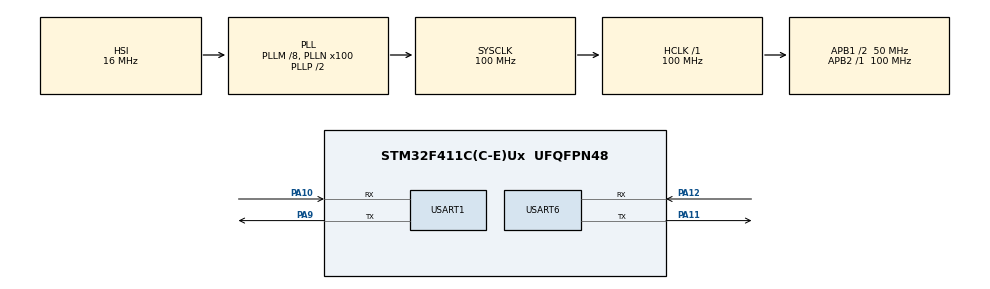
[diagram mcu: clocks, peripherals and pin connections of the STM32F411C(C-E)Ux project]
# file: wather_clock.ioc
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Mcu.Family=STM32F4
Mcu.Name=STM32F411C(C-E)Ux
Mcu.Package=UFQFPN48
NVIC.PriorityGroup=NVIC_PRIORITYGROUP_4
PA10.Mode=Asynchronous
PA10.Signal=USART1_RX
PA11.Mode=Asynchronous
PA11.Signal=USART6_TX
PA12.Mode=Asynchronous
PA12.Signal=USART6_RX
PA13.Mode=Serial_Wire
PA13.Signal=SYS_JTMS-SWDIO
PA14.Mode=Serial_Wire
PA14.Signal=SYS_JTCK-SWCLK
PA9.Mode=Asynchronous
PA9.Signal=USART1_TX
PH0\ -\ OSC_IN.Mode=HSE-External-Clock-Source
PH0\ -\ OSC_IN.Signal=RCC_OSC_IN
PH1\ -\ OSC_OUT.Mode=HSE-External-Clock-Source
PH1\ -\ OSC_OUT.Signal=RCC_OSC_OUT
ProjectManager.HeapSize=0x200
ProjectManager.StackSize=0x400
ProjectManager.TargetToolchain=CMake
RCC.48MHZClocksFreq_Value=50000000
RCC.AHBFreq_Value=100000000
RCC.APB1CLKDivider=RCC_HCLK_DIV2
RCC.APB1Freq_Value=50000000
RCC.APB1TimFreq_Value=100000000
RCC.APB2Freq_Value=100000000
RCC.APB2TimFreq_Value=100000000
RCC.CortexFreq_Value=100000000
RCC.HCLKFreq_Value=100000000
RCC.HSE_VALUE=25000000
RCC.HSI_VALUE=16000000
RCC.LSE_VALUE=32768
RCC.PLLM=8
RCC.PLLN=100
RCC.SYSCLKFreq_VALUE=100000000
RCC.SYSCLKSource=RCC_SYSCLKSOURCE_PLLCLK
RCC.VCOOutputFreq_Value=200000000
USART1.VirtualMode=VM_ASYNC
USART6.VirtualMode=VM_ASYNC
board=custom

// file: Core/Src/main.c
/* USER CODE BEGIN Header */
/**
  * @attention
  *
  * Copyright (c) 2025 STMicroelectronics.
  * All rights reserved.
  *
  * This software is licensed under terms that can be found in the LICENSE file
  * in the root directory of this software component.
  * If no LICENSE file comes with this software, it is provided AS-IS.
  *
  ******************************************************************************
  */
/* USER CODE END Header */
#include "main.h"
#include "stm32f4xx_hal.h"
#include "stm32f4xx_hal_uart.h"
#include "usart.h"
#include "gpio.h"

/* USER CODE BEGIN Includes */
#include "lcd_Driver.h"
#include "GUI.h"
#include "font.h"
#include "esp32_weather.h"
#include "dht11.h"
#include "usart.h"
#include <stdio.h>
#include <string.h>
/* USER CODE END Includes */

void SystemClock_Config(void);

int main(void)
{

  /* MCU Configuration--------------------------------------------------------*/

  /* Reset of all peripherals, Initializes the Flash interface and the Systick. */
  HAL_Init();

  /* Configure the system clock */
  SystemClock_Config();

  /* Initialize all configured peripherals */
  MX_GPIO_Init();
  MX_USART1_UART_Init();
  MX_USART6_UART_Init();
  /* USER CODE BEGIN 2 */
  HAL_UART_Transmit(&huart6, (uint8_t *)"Hello from STM32!\n", 19, 1000);

  // 初始化LCD
  Lcd_Init();
  DHT11_Init();

  int humidity, temperature;
  char buffer[100] = {0};
  char uart_msg[100] = {0};

  // 清屏为黑色
  Lcd_Clear(WHITE);

  // 显示湿度图标
  Gui_DrawImage(1, 50, gImage_humo_nei);  // 在(5,50)位置显示湿度图标
  Gui_DrawImage(50, 50, gImage_temp_nei);  // 在(65,50)位置显示温度图标
  Gui_DrawImage(90, 40, gImage_1);  // 在(100,50)位置显示外部温度图标
  Gui_DrawImage(80, 10, gImage_temp_wai);  // 在(100,50)位置显示外部温度图标

  uint32_t weather_counter = 0;
  wifi_connect();
  get_weather();
  /* USER CODE END 2 */

  /* Infinite loop */
  while (1)
  {

    /* USER CODE BEGIN 3 */
    /*====================测试================ */
    // Gui_Circle(20,20,1,RED);
    //Gui_DrawLine(10,10,50,50,BLUE);
    //Gui_box(20,20,30,30,GREEN);
    //Gui_box(20,20,30,30,GREEN);
    //DisplayButtonDown(20,20,30,30);
    //Gui_Draw8x16Char(30, 30, BLACK, WHITE, 'A');
    //Gui_DrawAsciiString(10, 10, BLACK, WHITE, "Hello!"); // 显示英文字符串
    //Gui_DrawFont_GBK16(10, 10, BLACK, WHITE, (uint8_t*)"Hello!涵涵"); // 显示中英文混合字符串
    //Gui_DrawFont_Num32(10, 100, BLACK, WHITE, 1);
    /*====================测试================ */
    /*读取DHT11温湿度数据*/
    DHT11_Read(&humidity, &temperature);
        // ✅ 打印湿度
    sprintf(uart_msg, "湿度: %d%%\r\n", humidity);
    HAL_UART_Transmit(&huart6, (uint8_t*)uart_msg, strlen(uart_msg), 1000);

    // ✅ 打印温度
    sprintf(uart_msg, "温度: %d°C\r\n", temperature);
    HAL_UART_Transmit(&huart6, (uint8_t*)uart_msg, strlen(uart_msg), 1000);
    // 读取成功，显示数据-
    sprintf(buffer, "%d%%",humidity);
    Gui_DrawAsciiString(25,55,BLACK, WHITE, buffer);

    /*显示温度*/
    sprintf(buffer, "%d",temperature);
    if(temperature>30)
    {
      Gui_DrawAsciiString(68,55,RED, WHITE, buffer);
      Gui_Circle(82, 52,1, RED);
      Gui_DrawAsciiChar(82, 55, RED, WHITE, 'c');  // 显示摄氏度符号
    }
    else if(temperature<10)
    {
      Gui_DrawAsciiString(68,55,BLUE, WHITE, buffer);
      Gui_Circle(82, 52,1, BLACK);
      Gui_DrawAsciiChar(82, 55, BLACK, WHITE, 'c');  // 显示摄氏度符号
    }
    else
    {
      Gui_DrawAsciiString(68,55,BLACK, WHITE, buffer);
      Gui_Circle(82, 52, 1, BLACK);
     Gui_DrawAsciiChar(82, 55, BLACK, WHITE, 'C');  // 显示摄氏度符号
    }

    get_weather();  // 重新获取天气
    // 等待2秒再读取
    HAL_Delay(2000);
    get_time();

  }
  /* USER CODE END 3 */
}

void SystemClock_Config(void)
{
  RCC_OscInitTypeDef RCC_OscInitStruct = {0};
  RCC_ClkInitTypeDef RCC_ClkInitStruct = {0};

  /** Configure the main internal regulator output voltage
  */
  __HAL_RCC_PWR_CLK_ENABLE();
  __HAL_PWR_VOLTAGESCALING_CONFIG(PWR_REGULATOR_VOLTAGE_SCALE1);

  /** Initializes the RCC Oscillators according to the specified parameters
  * in the RCC_OscInitTypeDef structure.
  */
  RCC_OscInitStruct.OscillatorType = RCC_OSCILLATORTYPE_HSI;
  RCC_OscInitStruct.HSIState = RCC_HSI_ON;
  RCC_OscInitStruct.HSICalibrationValue = RCC_HSICALIBRATION_DEFAULT;
  RCC_OscInitStruct.PLL.PLLState = RCC_PLL_ON;
  RCC_OscInitStruct.PLL.PLLSource = RCC_PLLSOURCE_HSI;
  RCC_OscInitStruct.PLL.PLLM = 8;
  RCC_OscInitStruct.PLL.PLLN = 100;
  RCC_OscInitStruct.PLL.PLLP = RCC_PLLP_DIV2;
  RCC_OscInitStruct.PLL.PLLQ = 4;
  if (HAL_RCC_OscConfig(&RCC_OscInitStruct) != HAL_OK)
  {
    Error_Handler();
  }

  /** Initializes the CPU, AHB and APB buses clocks
  */
  RCC_ClkInitStruct.ClockType = RCC_CLOCKTYPE_HCLK|RCC_CLOCKTYPE_SYSCLK
                              |RCC_CLOCKTYPE_PCLK1|RCC_CLOCKTYPE_PCLK2;
  RCC_ClkInitStruct.SYSCLKSource = RCC_SYSCLKSOURCE_PLLCLK;
  RCC_ClkInitStruct.AHBCLKDivider = RCC_SYSCLK_DIV1;
  RCC_ClkInitStruct.APB1CLKDivider = RCC_HCLK_DIV2;
  RCC_ClkInitStruct.APB2CLKDivider = RCC_HCLK_DIV1;

  if (HAL_RCC_ClockConfig(&RCC_ClkInitStruct, FLASH_LATENCY_3) != HAL_OK)
  {
    Error_Handler();
  }

}

void Error_Handler(void)
{
  __disable_irq();
  while (1)
  {
  }
}
